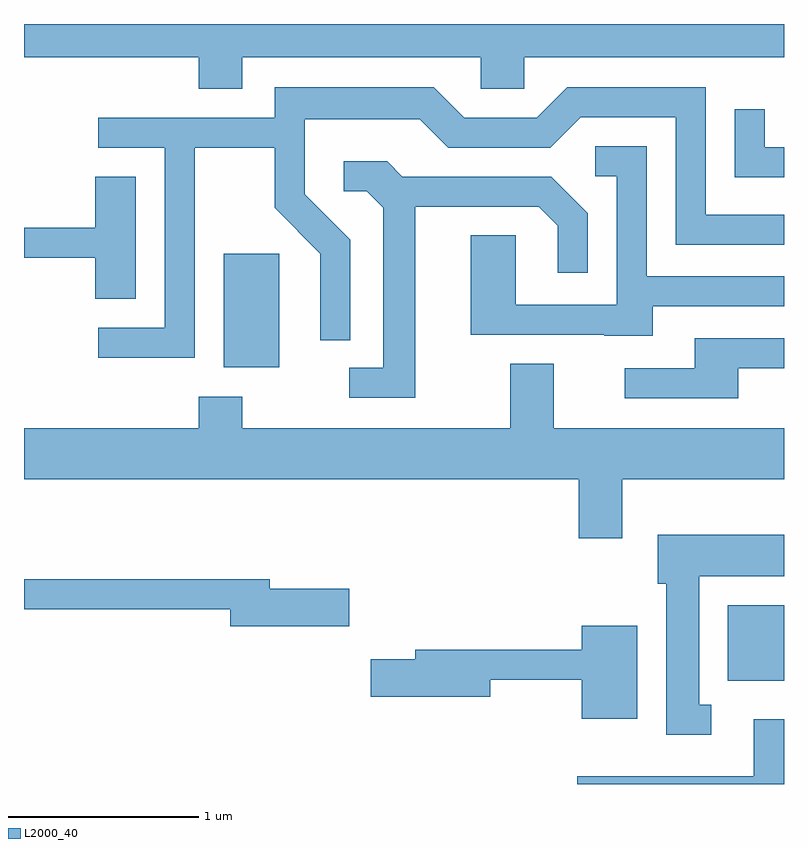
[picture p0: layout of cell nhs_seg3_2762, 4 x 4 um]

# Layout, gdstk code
import gdstk
lib = gdstk.Library(unit=1e-6, precision=1e-09)
def R(c, l, rs):  # rectangles x0, y0, x1, y1
    for r in rs: c.add(gdstk.rectangle(r[:2], r[2:], *l))
def P(c, l, *ps):  # polygons
    for p in ps: c.add(gdstk.Polygon(p, *l))
L2000_40 = (2000, 40)

nhs_seg3_2762 = lib.new_cell('nhs_seg3_2762')
R(nhs_seg3_2762, L2000_40, [(269.316,1200.436,269.611,1200.834), (266.661,1202.086,266.954,1202.684)])
P(nhs_seg3_2762, L2000_40, [(266.759,1203.716),(268.016,1203.716),(268.016,1203.551),(268.244,1203.551),(268.244,1203.716),(269.611,1203.716),(269.611,1203.892),(265.611,1203.892),(265.611,1203.716),(266.531,1203.716),(266.531,1203.551),(266.759,1203.551)],
  [(266.509,1203.241),(266.931,1203.241),(266.931,1202.924),(267.171,1202.684),(267.171,1202.228),(267.329,1202.228),(267.329,1202.757),(267.089,1202.997),(267.089,1203.391),(267.694,1203.391),(267.844,1203.241),(268.382,1203.241),(268.542,1203.401),(269.041,1203.401),(269.041,1202.731),(269.611,1202.731),(269.611,1202.889),(269.199,1202.889),(269.199,1203.559),(268.469,1203.559),(268.309,1203.399),(267.927,1203.399),(267.767,1203.559),(266.931,1203.559),(266.931,1203.399),(266.003,1203.399),(266.003,1203.241),(266.351,1203.241),(266.351,1202.294),(266.003,1202.294),(266.003,1202.136),(266.509,1202.136)],
  [(269.611,1203.244),(269.509,1203.244),(269.509,1203.443),(269.351,1203.443),(269.351,1203.086),(269.611,1203.086)],
  [(268.919,1202.406),(269.611,1202.406),(269.611,1202.564),(268.889,1202.564),(268.889,1203.249),(268.618,1203.249),(268.618,1203.091),(268.731,1203.091),(268.731,1202.414),(268.199,1202.414),(268.199,1202.779),(267.961,1202.779),(267.961,1202.256),(268.665,1202.256),(268.665,1202.251),(268.919,1202.251)],
  [(267.669,1202.931),(268.319,1202.931),(268.421,1202.829),(268.421,1202.583),(268.579,1202.583),(268.579,1202.897),(268.387,1203.089),(267.602,1203.089),(267.522,1203.169),(267.293,1203.169),(267.293,1203.011),(267.414,1203.011),(267.501,1202.924),(267.501,1202.084),(267.323,1202.084),(267.323,1201.926),(267.669,1201.926)],
  [(266.199,1203.089),(265.986,1203.089),(265.986,1202.819),(265.611,1202.819),(265.611,1202.661),(265.986,1202.661),(265.986,1202.446),(266.199,1202.446)],
  [(269.369,1202.081),(269.611,1202.081),(269.611,1202.239),(269.141,1202.239),(269.141,1202.079),(268.773,1202.079),(268.773,1201.921),(269.369,1201.921)],
  [(268.759,1201.496),(269.611,1201.496),(269.611,1201.764),(268.399,1201.764),(268.399,1202.104),(268.171,1202.104),(268.171,1201.764),(266.759,1201.764),(266.759,1201.929),(266.531,1201.929),(266.531,1201.764),(265.611,1201.764),(265.611,1201.496),(268.531,1201.496),(268.531,1201.186),(268.759,1201.186)],
  [(269.228,1200.309),(269.164,1200.309),(269.164,1200.986),(269.611,1200.986),(269.611,1201.204),(268.946,1201.204),(268.946,1200.946),(268.991,1200.946),(268.991,1200.151),(269.228,1200.151)],
  [(267.324,1200.919),(266.904,1200.919),(266.904,1200.969),(265.611,1200.969),(265.611,1200.811),(266.696,1200.811),(266.696,1200.721),(267.324,1200.721)],
  [(268.839,1200.724),(268.546,1200.724),(268.546,1200.599),(267.671,1200.599),(267.671,1200.549),(267.436,1200.549),(267.436,1200.351),(268.064,1200.351),(268.064,1200.441),(268.546,1200.441),(268.546,1200.236),(268.839,1200.236)],
  [(269.611,1200.234),(269.451,1200.234),(269.451,1199.934),(268.523,1199.934),(268.523,1199.892),(269.611,1199.892)])

lib.write_gds('nhs_seg3_2762.gds')
